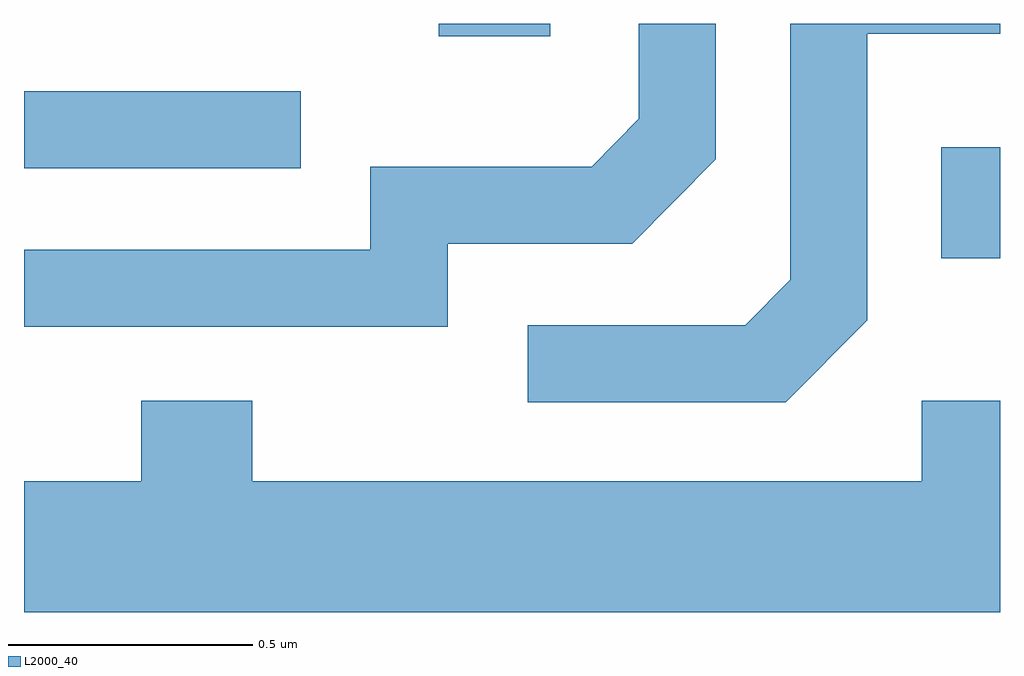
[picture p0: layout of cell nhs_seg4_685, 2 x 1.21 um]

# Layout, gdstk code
import gdstk
lib = gdstk.Library(unit=1e-6, precision=1e-09)
def R(c, l, rs):  # rectangles x0, y0, x1, y1
    for r in rs: c.add(gdstk.rectangle(r[:2], r[2:], *l))
def P(c, l, *ps):  # polygons
    for p in ps: c.add(gdstk.Polygon(p, *l))
L2000_40 = (2000, 40)

nhs_seg4_685 = lib.new_cell('nhs_seg4_685')
R(nhs_seg4_685, L2000_40, [(192.491,1255.501,192.611,1255.729), (190.611,1255.686,191.178,1255.844), (191.461,1255.956,191.689,1255.982)])
P(nhs_seg4_685, L2000_40, [(192.339,1255.374),(192.339,1255.961),(192.611,1255.961),(192.611,1255.982),(192.181,1255.982),(192.181,1255.457),(192.089,1255.364),(191.643,1255.364),(191.643,1255.206),(192.172,1255.206)],
  [(191.479,1255.531),(191.857,1255.531),(192.029,1255.704),(192.029,1255.982),(191.871,1255.982),(191.871,1255.787),(191.774,1255.689),(191.321,1255.689),(191.321,1255.519),(190.611,1255.519),(190.611,1255.361),(191.479,1255.361)],
  [(192.611,1255.209),(192.451,1255.209),(192.451,1255.044),(191.079,1255.044),(191.079,1255.209),(190.851,1255.209),(190.851,1255.044),(190.611,1255.044),(190.611,1254.776),(192.611,1254.776)])

lib.write_gds('nhs_seg4_685.gds')
